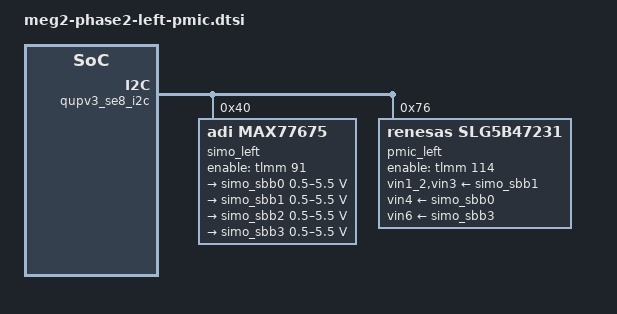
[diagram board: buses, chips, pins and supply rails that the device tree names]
// SPDX-License-Identifier: GPL-2.0

// Turn on left pmic and simo in dragon Dev0 phase2 CX.
&qupv3_se8_i2c {
	simo_left: max77675-regulator@40 {
		reg = <0x40>;
		compatible = "adi,max77675";
		enable-gpio = <&tlmm 91 GPIO_ACTIVE_HIGH>;
		status = "ok";
		regulators {
			simo_sbb0: regulator-sbb0 {
				regulator-name = "simo_sbb0";
				regulator-compatible = "regulator_sbb0";
				regulator-min-microvolt = <500000>;
				regulator-max-microvolt = <5500000>;
				regulator-active-discharge = <1>;
			};
			simo_sbb1: regulator-sbb1 {
				regulator-name = "simo_sbb1";
				regulator-compatible = "regulator_sbb1";
				regulator-min-microvolt = <500000>;
				regulator-max-microvolt = <5500000>;
				regulator-active-discharge = <1>;
			};
			simo_sbb2: regulator-sbb2 {
				regulator-name = "simo_sbb2";
				regulator-compatible = "regulator_sbb2";
				regulator-min-microvolt = <500000>;
				regulator-max-microvolt = <5500000>;
				regulator-active-discharge = <1>;
			};
			simo_sbb3: regulator-sbb3 {
				regulator-name = "simo_sbb3";
				regulator-compatible = "regulator_sbb3";
				regulator-min-microvolt = <500000>;
				regulator-max-microvolt = <5500000>;
				regulator-active-discharge = <1>;
			};
		};
	};

	pmic_left: slg5b47231-regulator@76 {
		reg = <0x76>;
		compatible = "renesas,slg5b47231";
		enable-gpio = <&tlmm 114 GPIO_ACTIVE_HIGH>;
		vin1_2-supply = < &simo_sbb1>;
		vin3-supply = < &simo_sbb1>;
		vin4-supply = < &simo_sbb0>;
		vin6-supply = < &simo_sbb3>;
		status = "ok";
	};
};
